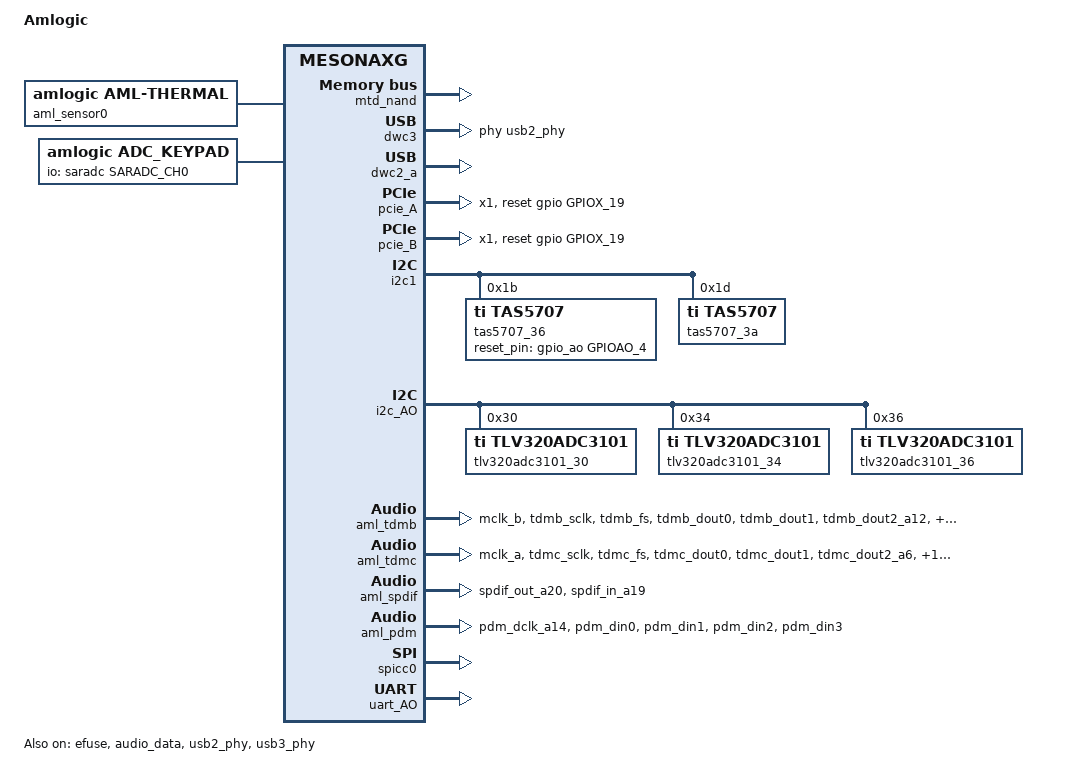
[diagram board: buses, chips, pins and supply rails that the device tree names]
/*
 * arch/arm/boot/dts/amlogic/axg_a113d_skt.dts
 *
 * Copyright (C) 2017 Amlogic, Inc. All rights reserved.
 *
 * This program is free software; you can redistribute it and/or modify
 * it under the terms of the GNU General Public License as published by
 * the Free Software Foundation; either version 2 of the License, or
 * (at your option) any later version.
 *
 * This program is distributed in the hope that it will be useful, but WITHOUT
 * ANY WARRANTY; without even the implied warranty of MERCHANTABILITY or
 * FITNESS FOR A PARTICULAR PURPOSE.  See the GNU General Public License for
 * more details.
 *
 */

/dts-v1/;

#include "mesonaxg.dtsi"

/ {
	model = "Amlogic";
	amlogic-dt-id = "axg_a113d_skt_v1";
	compatible = "amlogic, axg";
	interrupt-parent = <&gic>;
	#address-cells = <1>;
	#size-cells = <1>;

	aliases {
		serial0 = &uart_AO;
		serial1 = &uart_A;
		serial2 = &uart_B;
		serial3 = &uart_AO_B;
	};

	memory@00000000 {
		device_type = "memory";
		linux,usable-memory = <0x0 0x40000000>;
	};

	reserved-memory {
		#address-cells = <1>;
		#size-cells = <1>;
		ranges;
		/* global autoconfigured region for contiguous allocations */
		ramoops@0x07400000 {
			compatible = "ramoops";
			reg = <0x07400000 0x00100000>;
			record-size = <0x8000>;
			console-size = <0x8000>;
			ftrace-size = <0x20000>;
};

		secmon_reserved:linux,secmon {
			compatible = "shared-dma-pool";
			reusable;
			size = <0x400000>;
			alignment = <0x400000>;
			alloc-ranges = <0x05000000 0x400000>;
		};

		secos_reserved:linux,secos {
			status = "disable";
			compatible = "amlogic, aml_secos_memory";
			reg = <0x05300000 0x2000000>;
			no-map;
		};
	};

	mtd_nand {
		compatible = "amlogic, aml_mtd_nand";
		dev_name = "mtdnand";
		status = "okay";
		reg = <0xFFE07800 0x200>;
		interrupts = <	0 34 1 >;
		pinctrl-names = "nand_rb_mod","nand_norb_mod", "nand_cs_only";
		pinctrl-0 = <&all_nand_pins>;
		pinctrl-1 = <&all_nand_pins>;
		pinctrl-2 = <&nand_cs_pins>;
		device_id = <0>;

		/*fip/tpl configurations, must be same
		 * with uboot if bl_mode was set as 1
		 * bl_mode: 0 compact mode; 1 descrete mode
		 * if bl_mode was set as 1, fip configeration will work
		 */
		bl_mode = <1>;
		/*copy count of fip*/
		fip_copies = <4>;
		/*size of each fip copy */
		fip_size = <0x200000>;
		nand_clk_ctrl = <0xFFE07000>;
		plat-names = "bootloader","nandnormal";
		plat-num = <2>;
		plat-part-0 = <&bootloader>;
		plat-part-1 = <&nandnormal>;
		bootloader: bootloader{
			enable_pad ="ce0";
			busy_pad = "rb0";
			timming_mode = "mode5";
			bch_mode = "bch8_1k";
			t_rea = <20>;
			t_rhoh = <15>;
			chip_num = <1>;
			part_num = <0>;
			rb_detect = <1>;
		};
		nandnormal: nandnormal{
			enable_pad ="ce0";
			busy_pad = "rb0";
			timming_mode = "mode5";
			bch_mode = "bch8_1k";
			plane_mode = "twoplane";
			t_rea = <20>;
			t_rhoh = <15>;
			chip_num = <2>;
			part_num = <3>;
			partition = <&nand_partitions>;
			rb_detect = <1>;
		};
		nand_partitions:nand_partition{
			/*
			 * if bl_mode is 1, tpl size was generate by
			 * fip_copies * fip_size which
			 * will not skip bad when calculating
			 * the partition size;
			 *
			 * if bl_mode is 0,
			 * tpl partition must be comment out.
			 */
			tpl{
				offset=<0x0 0x0>;
				size=<0x0 0x0>;
			};
			logo{
				offset=<0x0 0x0>;
				size=<0x0 0x200000>;
			};
			recovery{
				offset=<0x0 0x0>;
				size=<0x0 0x1000000>;
			};
			boot{
				offset=<0x0 0x0>;
				size=<0x0 0xF00000>;
			};
			system{
				offset=<0x0 0x0>;
				size=<0x0 0xDC40000>;
			};
			data{
				offset=<0xffffffff 0xffffffff>;
				size=<0x0 0x0>;
			};
		};
	};

	ethmac: ethernet@0xff3f0000 {
			compatible = "amlogic, gxbb-eth-dwmac";
			status = "disable";
			reg = <0xff3f0000 0x10000
			0xff634540 0x8>;
			interrupts = <0 8 1>;
			pinctrl-names = "external_eth_pins";
			pinctrl-0 = <&external_eth_pins>;
			mc_val_internal_phy = <0x1800>;
			mc_val_external_phy = <0x1621>;
			interrupt-names = "macirq";
			clocks = <&clkc CLKID_ETH_CORE>;
			clock-names = "ethclk81";
			internal_phy=<0>;
	};

	aml_sensor0: aml-sensor@0 {
		compatible = "amlogic, aml-thermal";
		device_name = "thermal";
		#thermal-sensor-cells = <1>;
		cooling_devices {
			cpufreq_cool_cluster0 {
				min_state = <1000000>;
				dyn_coeff = <140>;
				cluster_id = <0>;
				node_name = "cpufreq_cool0";
				device_type = "cpufreq";
			};
			cpucore_cool_cluster0 {
				min_state = <1>;
				dyn_coeff = <0>;
				cluster_id = <0>;
				node_name = "cpucore_cool0";
				device_type = "cpucore";
			};
		};
		cpufreq_cool0:cpufreq_cool0 {
			#cooling-cells = <2>; /* min followed by max */
		};
		cpucore_cool0:cpucore_cool0 {
			#cooling-cells = <2>; /* min followed by max */
		};
	};
	thermal-zones {
		soc_thermal {
			polling-delay = <1000>;
			polling-delay-passive = <100>;
			sustainable-power = <1050>;

			thermal-sensors = <&aml_sensor0 3>;

			trips {
				switch_on: trip-point@0 {
					temperature = <70000>;
					hysteresis = <1000>;
					type = "passive";
				};
				control: trip-point@1 {
					temperature = <80000>;
					hysteresis = <1000>;
					type = "passive";
				};
				hot: trip-point@2 {
					temperature = <85000>;
					hysteresis = <5000>;
					type = "hot";
				};
				critical: trip-point@3 {
					temperature = <260000>;
					hysteresis = <1000>;
					type = "critical";
				};
			};

			cooling-maps {
				cpufreq_cooling_map {
					trip = <&control>;
					cooling-device = <&cpufreq_cool0 0 4>;
					contribution = <1024>;
				};
				cpucore_cooling_map {
					trip = <&control>;
					cooling-device = <&cpucore_cool0 0 3>;
					contribution = <1024>;
				};
			};
		};
	};

	dwc3: dwc3@ff500000 {
		compatible = "synopsys, dwc3";
		status = "okay";
		reg = <0xff500000 0x100000>;
		interrupts = <0 30 4>;
		usb-phy = <&usb2_phy>, <&usb3_phy>;
		cpu-type = "gxl";
		clock-src = "usb3.0";
		clocks = <&clkc CLKID_USB_GENERAL>;
		clock-names = "dwc_general";
	};

	usb2_phy: usb2phy@ffe09000 {
		compatible = "amlogic, amlogic-new-usb2";
		status = "okay";
		portnum = <4>;
		reg = <0xffe09000 0x80
					0xffd01008 0x4>;
	};
	usb3_phy: usb3phy@ffe09080 {
		compatible = "amlogic, amlogic-new-usb3";
		status = "okay";
		portnum = <0>;
		reg = <0xffe09080 0x20>;
		interrupts = <0 16 4>;
		otg = <1>;
		gpio-vbus-power = "GPIOAO_5";
		gpios = <&gpio_ao GPIOAO_5 GPIO_ACTIVE_HIGH>;
	};

	dwc2_a {
		compatible = "amlogic, dwc2";
		device_name = "dwc2_a";
		reg = <0xff400000 0x40000>;
		status = "okay";
		interrupts = <0 31 4>;
		pl-periph-id = <0>; /** lm name */
		clock-src = "usb0"; /** clock src */
		port-id = <0>;  /** ref to mach/usb.h */
		port-type = <2>;        /** 0: otg, 1: host, 2: slave */
		port-speed = <0>; /** 0: default, high, 1: full */
		port-config = <0>; /** 0: default */
		/*0:default,1:single,2:incr,3:incr4,4:incr8,5:incr16,6:disable*/
		port-dma = <0>;
		port-id-mode = <0>; /** 0: hardware, 1: sw_host, 2: sw_slave*/
		usb-fifo = <728>;
		cpu-type = "gxl";
		/** 0: normal, 1: otg+dwc3 host only, 2: otg+dwc3 device only*/
		controller-type = <3>;
		phy-reg = <0xffe09000>;
		phy-reg-size = <0xa0>;
		clocks = <&clkc CLKID_USB_GENERAL
			&clkc CLKID_USB1_TO_DDR
			&clkc CLKID_USB1>;
		clock-names = "usb_general",
			"usb1",
			"usb1_to_ddr";
	};

	pcie_A: pcieA@f9800000 {
		compatible = "amlogic, amlogic-pcie", "snps,dw-pcie";
		reg = <0xf9800000 0x400000
				0xff646000 0x2000
				0xf9f00000 0x100000
				PCIE_PHY_REG PCIE_PHY_SIZE
				PCIE_RESET_REG PCIE_RESET_SIZE>;
		reg-names = "elbi", "cfg", "config", "phy", "reset";
		reset-gpio = <&gpio GPIOX_19 GPIO_ACTIVE_HIGH>;
		interrupts = <0 177 0>;
		#interrupt-cells = <1>;
		bus-range = <0x0 0xff>;
		#address-cells = <3>;
		#size-cells = <2>;
		interrupt-map-mask = <0 0 0 0>;
		interrupt-map = <0 0 0 0 &gic GIC_SPI 179 IRQ_TYPE_EDGE_RISING>;
		device_type = "pci";
		ranges = <0x82000000 0 0 0xf9c00000 0 0x00300000>;
			/* non-prefetchable memory */
		num-lanes = <1>;
		pcie-num = <1>;

		clocks = <&clkc CLKID_USB_GENERAL
		&clkc CLKID_PCIE_PLL
		&clkc CLKID_MIPI_ENABLE_GATE
		&clkc CLKID_MIPI_BANDGAP_GATE
		&clkc CLKID_PCIE_A
		&clkc CLKID_PCIE_CML_EN0>;
		clock-names = "pcie_general",
				"pcie_refpll",
				"pcie_mipi_enable_gate",
				"pcie_mipi_bandgap_gate",
				"pcie",
				"port";
		/*reset-gpio-type 0:Shared pad(no reset)1:OD pad2:Normal pad*/
		gpio-type = <2>;
		status = "okay";
	};

	pcie_B: pcieB@fa000000 {
		compatible = "amlogic, amlogic-pcie", "snps,dw-pcie";
		reg = <0xfa000000 0x400000
				0xff648000 0x2000
				0xfa400000 0x100000
				PCIE_PHY_REG PCIE_PHY_SIZE
				PCIE_RESET_REG PCIE_RESET_SIZE>;
		reg-names = "elbi", "cfg", "config", "phy", "reset";
		reset-gpio = <&gpio GPIOX_19 GPIO_ACTIVE_HIGH>;
		interrupts = <0 167 0>;
		#interrupt-cells = <1>;
		bus-range = <0x0 0xff>;
		#address-cells = <3>;
		#size-cells = <2>;
		interrupt-map-mask = <0 0 0 0>;
		interrupt-map = <0 0 0 0 &gic GIC_SPI 169 IRQ_TYPE_EDGE_RISING>;
		device_type = "pci";
		ranges = <0x81000000 0 0 0xfa500000 0x0 0x10000
			/* downstream I/O */
			0x82000000 0 0xfa510000 0xfa510000 0 0x002f0000>;
			/* non-prefetchable memory */
		num-lanes = <1>;
		pcie-num = <2>;

		clocks = <&clkc CLKID_USB_GENERAL
			&clkc CLKID_PCIE_PLL
			&clkc CLKID_MIPI_ENABLE_GATE
			&clkc CLKID_MIPI_BANDGAP_GATE
			&clkc CLKID_PCIE_B
			&clkc CLKID_PCIE_CML_EN1>;
		clock-names = "pcie_general",
			"pcie_refpll",
			"pcie_mipi_enable_gate",
			"pcie_mipi_bandgap_gate",
			"pcie",
			"port";
		/*reset-gpio-type 0:Shared pad(no reset)1:OD pad2:Normal pad*/
		gpio-type = <0>;
		status = "okay";
	};

	uart_A: serial@ffd24000 {
		compatible = "amlogic, meson-uart";
		reg = <0xffd24000 0x18>;
		interrupts = <0 26 1>;
		status = "disable";
		clocks = <&xtal
			&clkc CLKID_UART0>;
		clock-names = "clk_uart",
			"clk_gate";
		fifosize = < 128 >;
		pinctrl-names = "default";
		pinctrl-0 = <&a_uart_pins>;
	};

	uart_B: serial@ffd23000 {
		compatible = "amlogic, meson-uart";
		reg = <0xffd23000 0x18>;
		interrupts = <0 75 1>;
		status = "disable";
		clocks = <&xtal
			&clkc CLKID_UART1>;
		clock-names = "clk_uart",
			"clk_gate";
		fifosize = < 64 >;
		pinctrl-names = "default";
		pinctrl-0 = <&b_uart_pins>;
	};
	/* Sound iomap */
	aml_snd_iomap {
		compatible = "amlogic, snd-iomap";
		status = "okay";
		#address-cells=<1>;
		#size-cells=<1>;
		ranges;
		pdm_bus {
			reg = <0xFF632000 0x2000>;
		};
		audiobus_base {
			reg = <0xFF642000 0x2000>;
		};
	};
	pdm_codec:dummy{
		#sound-dai-cells = <0>;
		compatible = "amlogic, pdm_dummy_codec";
		status = "okay";
	};
	dummy_codec:dummy{
		#sound-dai-cells = <0>;
		compatible = "amlogic, aml_dummy_codec";
		status = "okay";
	};

	auge_sound {
		compatible = "amlogic, axg-sound-card";
		aml-audio-card,name = "AML-AUGESOUND";

		aml-audio-card,dai-link@0 {
			format = "dsp_a";
			mclk-fs = <512>;
			//continuous-clock;
			//bitclock-inversion;
			//frame-inversion;
			//bitclock-master = <&tdmacodec>;
			//frame-master = <&tdmacodec>;
			tdmacpu: cpu {
				sound-dai = <&aml_tdma>;
				dai-tdm-slot-tx-mask =
							<1 1 1 1 1 1 1 1>;
				dai-tdm-slot-rx-mask =
							<1 1 1 1 1 1 1 1>;
				dai-tdm-slot-num = <8>;
				dai-tdm-slot-width = <32>;
				system-clock-frequency = <24576000>;
			};
			tdmacodec: codec {
				sound-dai = <&dummy_codec &dummy_codec>;
			};
		};

		aml-audio-card,dai-link@1 {
			format = "i2s";
			mclk-fs = <256>;
			//continuous-clock;
			//bitclock-inversion;
			//frame-inversion;
			//bitclock-master = <&aml_tdmb>;
			//frame-master = <&aml_tdmb>;
			cpu {
				sound-dai = <&aml_tdmb>;
				dai-tdm-slot-tx-mask = <1 1>;
				dai-tdm-slot-rx-mask = <1 1>;
				dai-tdm-slot-num = <2>;
				dai-tdm-slot-width = <32>;
				system-clock-frequency = <12288000>;
			};
			codec {
				sound-dai = <&dummy_codec &dummy_codec>;
			};
		};

		aml-audio-card,dai-link@2 {
			format = "i2s";
			mclk-fs = <256>;
			//continuous-clock;
			//bitclock-inversion;
			//frame-inversion;
			//bitclock-master = <&aml_tdmc>;
			//frame-master = <&aml_tdmc>;
			cpu {
				sound-dai = <&aml_tdmc>;
				dai-tdm-slot-tx-mask = <1 1>;
				dai-tdm-slot-rx-mask = <1 1>;
				dai-tdm-slot-num = <2>;
				dai-tdm-slot-width = <32>;
				system-clock-frequency = <12288000>;
			};
			codec {
				sound-dai = <&tas5707_36 &tas5707_3a>;
			};
		};

		aml-audio-card,dai-link@3 {
			mclk-fs = <64>;
			cpu {
				sound-dai = <&aml_pdm>;
			};
			codec {
				sound-dai = <&pdm_codec>;
			};
		};

		aml-audio-card,dai-link@4 {
			mclk-fs = <128>;
			cpu {
				sound-dai = <&aml_spdif>;
				system-clock-frequency = <6144000>;
			};
			codec {
				sound-dai = <&dummy_codec>;
			};
		};
	};
	sd_emmc_c: emmc@ffe07000 {
		status = "disable";
		compatible = "amlogic, meson-mmc-axg";
		reg = <0xffe07000 0x2000>;
		interrupts = <0 218 1>;
		pinctrl-names = "emmc_clk_cmd_pins", "emmc_all_pins";
		pinctrl-0 = <&emmc_clk_cmd_pins>;
		pinctrl-1 = <&emmc_conf_pull_up &emmc_conf_pull_done>;
		clocks = <&clkc CLKID_SD_EMMC_C>,
			   <&clkc CLKID_SD_EMMC_C_P0_COMP>,
			   <&clkc CLKID_FCLK_DIV2>,
			   <&clkc CLKID_FCLK_DIV5>,
			   <&xtal>;
		clock-names = "core", "clkin0", "clkin1", "clkin2", "xtal";

		bus-width = <8>;
		cap-sd-highspeed;
		cap-mmc-highspeed;
		mmc-ddr-1_8v;
		mmc-hs200-1_8v;

		max-frequency = <200000000>;
		non-removable;
		disable-wp;
		emmc {
			pinname = "emmc";
			ocr_avail = <0x200080>; /**VDD voltage 3.3 ~ 3.4 */
			caps = "MMC_CAP_8_BIT_DATA",
				 "MMC_CAP_MMC_HIGHSPEED",
				 "MMC_CAP_SD_HIGHSPEED",
				 "MMC_CAP_NONREMOVABLE",
				 "MMC_CAP_1_8V_DDR",
				 "MMC_CAP_HW_RESET",
				 "MMC_CAP_ERASE",
				 "MMC_CAP_CMD23";
			/*caps2 = "MMC_CAP2_HS200", "MMC_CAP2_HS400";*/
			f_min = <400000>;
			f_max = <100000000>;
			max_req_size = <0x20000>; /**128KB*/
			gpio_dat3 = <&gpio BOOT_3 GPIO_ACTIVE_HIGH>;
			hw_reset = <&gpio BOOT_9 GPIO_ACTIVE_HIGH>;
			card_type = <1>;
			/* 1:mmc card(include eMMC),
			 * 2:sd card(include tSD)
			 */
		};
	};

	partitions: partitions{
		parts = <11>;
		part-0 = <&logo>;
		part-1 = <&recovery>;
		part-2 = <&rsv>;
		part-3 = <&tee>;
		part-4 = <&crypt>;
		part-5 = <&misc>;
		part-6 = <&instaboot>;
		part-7 = <&boot>;
		part-8 = <&system>;
		part-9 = <&cache>;
		part-10 = <&data>;

		logo:logo{
			pname = "logo";
			size = <0x0 0x2000000>;
			mask = <1>;
		};
		recovery:recovery{
			pname = "recovery";
			size = <0x0 0x2000000>;
			mask = <1>;
		};
		rsv:rsv{
			pname = "rsv";
			size = <0x0 0x800000>;
			mask = <1>;
		};
		tee:tee{
			pname = "tee";
			size = <0x0 0x800000>;
			mask = <1>;
		};
		crypt:crypt{
			pname = "crypt";
			size = <0x0 0x2000000>;
			mask = <1>;
		};
		misc:misc{
			pname = "misc";
			size = <0x0 0x2000000>;
			mask = <1>;
		};
		instaboot:instaboot{
			pname = "instaboot";
			size = <0x0 0x400000>;
			mask = <1>;
		};
		boot:boot
		{
			pname = "boot";
			size = <0x0 0x2000000>;
			mask = <1>;
		};
		system:system
		{
			pname = "system";
			size = <0x0 0x80000000>;
			mask = <1>;
		};
		cache:cache
		{
			pname = "cache";
			size = <0x0 0x20000000>;
			mask = <2>;
		};
		data:data
		{
			pname = "data";
			size = <0xffffffff 0xffffffff>;
			mask = <4>;
		};
	};

	adc_keypad {
		compatible = "amlogic, adc_keypad";
		status = "okay";
		key_name = "power", "vol-", "vol+", "wifi", "<<", ">>";
		key_num = <6>;
		io-channels = <&saradc SARADC_CH0>;
		io-channel-names = "key-chan-0";
		key_chan = <SARADC_CH0 SARADC_CH0 SARADC_CH0
					SARADC_CH0 SARADC_CH0 SARADC_CH0>;
		key_code = <116 114 115 139 105 106>;
		key_val = <0 143 266 389 512 635>; //val=voltage/1800mV*1023
		key_tolerance = <40 40 40 40 40 40>;
	};

	unifykey{
		compatible = "amlogic, unifykey";
		status = "ok";

		unifykey-num = <6>;
		unifykey-index-0 = <&keysn_0>;
		unifykey-index-1 = <&keysn_1>;
		unifykey-index-2 = <&keysn_2>;
		unifykey-index-3 = <&keysn_3>;
		unifykey-index-4 = <&keysn_4>;
		unifykey-index-5 = <&keysn_5>;

		keysn_0: key_0{
			key-name = "usid";
			key-device = "normal";
			key-permit = "read","write","del";
		};
		keysn_1:key_1{
			key-name = "mac";
			key-device = "normal";
			key-permit = "read","write","del";
		};
		keysn_2:key_2{
			key-name = "secure_boot_set";
			key-device = "efuse";
			key-permit = "write";
		};
		keysn_3:key_3{
			key-name = "mac_bt";
			key-device = "normal";
			key-permit = "read","write","del";
			key-type  = "mac";
		};
		keysn_4:key_4{
			key-name = "mac_wifi";
			key-device = "normal";
			key-permit = "read","write","del";
			key-type = "mac";
		};
		keysn_5:key_5{
			key-name = "deviceid";
			key-device = "normal";
			key-permit = "read","write","del";
		};
	};//End unifykey

}; /* end of / */
&efuse {
	status = "ok";
};

/* Audio Related start */
/* for spk board */
&i2c1 {
	status = "okay";
	pinctrl-names="default";
	pinctrl-0=<&b_i2c_master>;
	tlv320adc3101_32: tlv320adc3101_32@30 {
		compatible = "ti,tlv320adc3101";
		#sound-dai-cells = <0>;
		reg = <0x32>;
		status = "disabled";
	};

	tas5707_36: tas5707_36@36 {
		compatible = "ti,tas5707";
		#sound-dai-cells = <0>;
		reg = <0x1b>;
		status = "okay";
		reset_pin = <&gpio_ao GPIOAO_4 0>;
	};

	tas5707_3a: tas5707_3a@3a {
		compatible = "ti,tas5707";
		#sound-dai-cells = <0>;
		reg = <0x1d>;
		status = "okay";
	};
};

/* for mic board */
&i2c_AO {
	status = "okay";
	pinctrl-names="default";
	pinctrl-0=<&ao_i2c_master_pin2>;

	tlv320adc3101_30: tlv320adc3101_30@30 {
		compatible = "ti,tlv320adc3101";
		#sound-dai-cells = <0>;
		reg = <0x30>;
		status = "okay";
	};
	tlv320adc3101_34: tlv320adc3101_34@30 {
		compatible = "ti,tlv320adc3101";
		#sound-dai-cells = <0>;
		reg = <0x34>;
		status = "okay";
	};
	tlv320adc3101_36: tlv320adc3101_36@30 {
		compatible = "ti,tlv320adc3101";
		#sound-dai-cells = <0>;
		reg = <0x36>;
		status = "okay";
	};
};

&audiobus {
	aml_tdma: tdma {
		compatible = "amlogic, axg-snd-tdma";
		#sound-dai-cells = <0>;
		dai-tdm-lane-slot-mask = <1>;
		dai-tdm-clk-sel = <0>;
		clocks = <&clkaudio CLKID_AUDIO_MCLK_A
				&clkc CLKID_MPLL0>;
		clock-names = "mclk", "clk_srcpll";
		pinctrl-names = "tdm_pins";
		pinctrl-0 = <&tdmout_a &tdmin_a>;
	};

	aml_tdmb: tdmb {
		compatible = "amlogic, axg-snd-tdmb";
		#sound-dai-cells = <0>;
		dai-tdm-lane-slot-mask = <1 1 1 1>;
		dai-tdm-clk-sel = <1>;
		clocks = <&clkaudio CLKID_AUDIO_MCLK_B
				&clkc CLKID_MPLL1>;
		clock-names = "mclk", "clk_srcpll";
		pinctrl-names = "tdm_pins";
		pinctrl-0 = <&tdmb_mclk &tdmout_b>;
	};

	aml_tdmc: tdmc {
		compatible = "amlogic, axg-snd-tdmc";
		#sound-dai-cells = <0>;
		dai-tdm-lane-slot-mask-in = <0 1 0 0>;
		dai-tdm-lane-slot-mask-out = <1 0 1 1>;
		dai-tdm-clk-sel = <2>;
		clocks = <&clkaudio CLKID_AUDIO_MCLK_C
				&clkc CLKID_MPLL2>;
		clock-names = "mclk", "clk_srcpll";
		pinctrl-names = "tdm_pins";
		pinctrl-0 = <&tdmc_mclk &tdmout_c>;// &tdmin_c>;
	};

	aml_spdif: spdif {
		compatible = "amlogic, axg-snd-spdif";
		#sound-dai-cells = <0>;
		clocks = <&clkc CLKID_MPLL0
				&clkc CLKID_FCLK_DIV4
				&clkaudio CLKID_AUDIO_SPDIFIN
				&clkaudio CLKID_AUDIO_SPDIFOUT
				&clkaudio CLKID_AUDIO_SPDIFIN_CTRL
				&clkaudio CLKID_AUDIO_SPDIFOUT_CTRL>;
		clock-names = "sysclk", "fixed_clk", "gate_spdifin",
				"gate_spdifout", "clk_spdifin", "clk_spdifout";
		interrupts =
				<GIC_SPI 87 IRQ_TYPE_EDGE_RISING>;

		interrupt-names = "irq_spdifin";
		pinctrl-names = "spdif_pins";
		pinctrl-0 = <&spdifout &spdifin>;
		status = "okay";
	};
	aml_pdm: pdm {
		compatible = "amlogic, axg-snd-pdm";
		#sound-dai-cells = <0>;
		clocks = <&clkaudio CLKID_AUDIO_PDM
			&clkc CLKID_FCLK_DIV3
			&clkc CLKID_MPLL3
			&clkaudio CLKID_AUDIO_PDMIN0
			&clkaudio CLKID_AUDIO_PDMIN1>;
		clock-names = "gate",
			"sysclk_srcpll",
			"dclk_srcpll",
			"pdm_dclk",
			"pdm_sysclk";
		pinctrl-names = "pdm_pins";
		pinctrl-0 = <&pdmin>;
		filter_mode = <1>; /* mode 0~4, defalut:1 */
		status = "okay";
	};
}; /* end of audiobus */

&pinctrl_periphs {
	tdmout_a: tdmout_a {
		mux {
			groups = "tdma_sclk",
				"tdma_fs",
				"tdma_dout0_x15";
			function = "tdma_out";
		};
	};

	tdmin_a: tdmin_a {
		mux {
			groups = "tdma_din0";
			function = "tdma_in";
		};
	};

	tdmb_mclk: tdmb_mclk {
		mux {
			groups = "mclk_b";
			function = "mclk_b";
		};
	};

	tdmout_b: tdmout_b {
		mux {
			groups = "tdmb_sclk",
				"tdmb_fs",
				"tdmb_dout0",
				"tdmb_dout1",
				"tdmb_dout2_a12",
				"tdmb_dout3_a13";
			function = "tdmb_out";
		};
	};

	// tdmin and tdmout are the same pins. can't use at same time
	/*
	 *tdmin_b:tdmin_b {
	 *	mux {
	 *		groups = "tdmb_din0",
	 *			"tdmb_din1",
	 *			"tdmb_din2_a12",
	 *			"tdmb_din3_a13";
	 *		function = "tdmb_in";
	 *	};
	 *};
	 */

	tdmc_mclk: tdmc_mclk {
		mux {
			groups = "mclk_a";
			function = "mclk_a";
		};
	};

	tdmout_c:tdmout_c {
		mux {
			groups = "tdmc_sclk",
				"tdmc_fs",
				"tdmc_dout0",
				"tdmc_dout1",
				"tdmc_dout2_a6",
				"tdmc_dout3_a7";
			function = "tdmc_out";
		};
	};

	//tdmin_c:tdmin_c {
	//	mux {
	//		groups = "tdmc_din0",
	//			"tdmc_din1",
	//			"tdmc_din2_a6",
	//			"tdmc_din3_a7";
	//		function = "tdmc_in";
	//	};
	//};

	spdifout: spidfout {
		mux {
			groups = "spdif_out_a20";
			function = "spdif_out";
		};
	};

	spdifin: spidfin {
		mux {
			groups = "spdif_in_a19";
			function = "spdif_in";
		};
	};

	pdmin: pdmin {
		mux {
			groups = "pdm_dclk_a14",
				"pdm_din0",
				"pdm_din1",
				"pdm_din2",
				"pdm_din3";
			function = "pdm";
		};
	};
}; /* end of pinctrl_periphs */
/* Audio Related End */

&spicc0 {
	status = "okay";
	pinctrl-names = "default";
	pinctrl-0 = <&spi0_pins>;
	cs-gpios = <&gpio GPIOZ_3 0>;
};

&spicc1 {
	status = "disabled";
	pinctrl-names = "default";
	pinctrl-0 = <&spi1_x_pins>;
	cs-gpios = <&gpio GPIOX_16 0>;
};

&aobus{
	uart_AO: serial@3000 {
		compatible = "amlogic, meson-uart";
		reg = <0x3000 0x18>;
		interrupts = <0 193 1>;
		status = "okay";
		clocks = <&xtal>;
		clock-names = "clk_uart";
		xtal_tick_en = <1>;
		fifosize = < 64 >;
		pinctrl-names = "default";
		pinctrl-0 = <&ao_uart_pins>;
		support-sysrq = <0>;	/* 0 not support , 1 support */
	};

	uart_AO_B: serial@4000 {
		compatible = "amlogic, meson-uart";
		reg = <0x4000 0x18>;
		interrupts = <0 197 1>;
		status = "disable";
		clocks = <&xtal>;
		clock-names = "clk_uart";
		fifosize = < 64 >;
		pinctrl-names = "default";
		pinctrl-0 = <&ao_b_uart_pins>;
	};
};
&audio_data{
	status = "okay";
};
